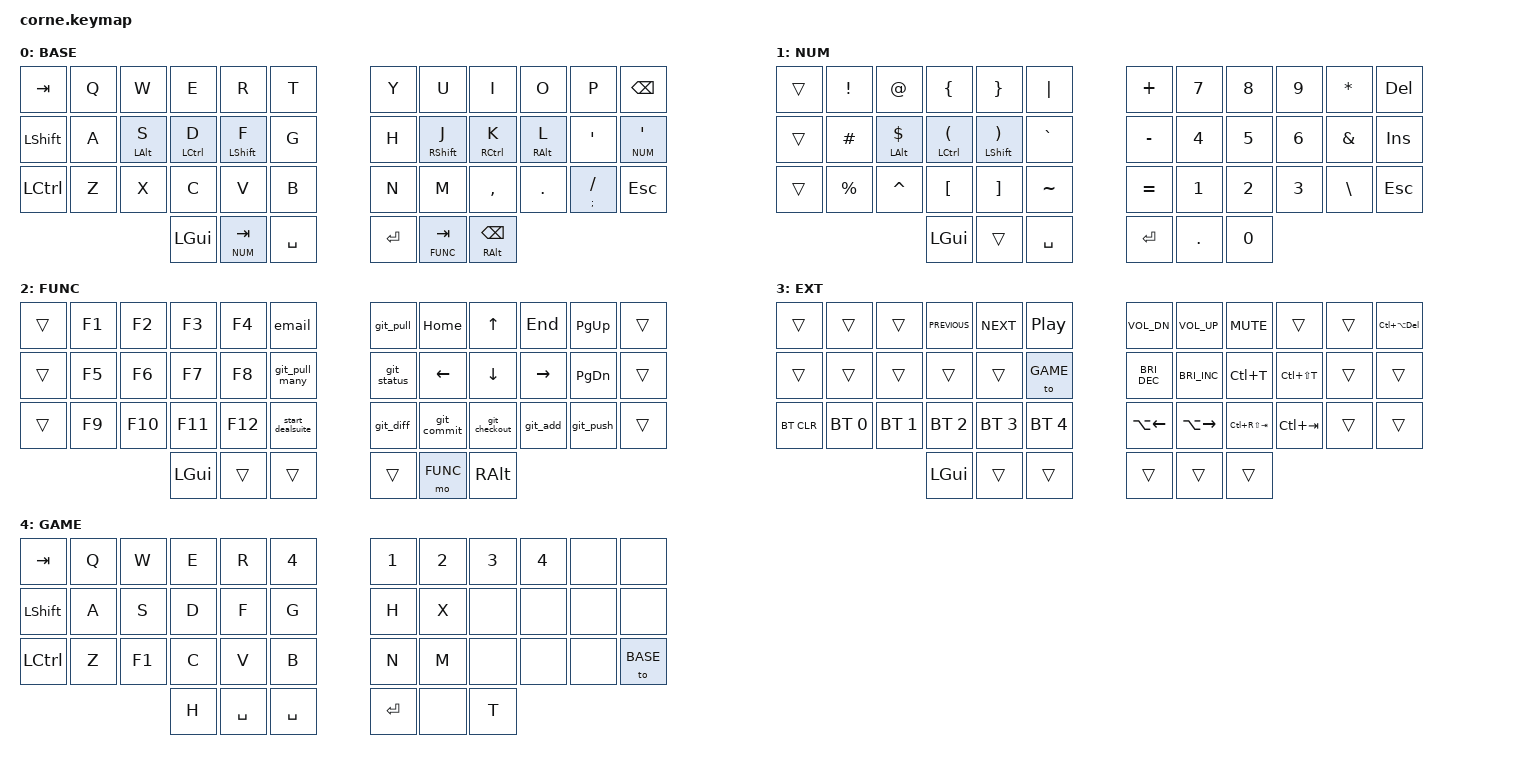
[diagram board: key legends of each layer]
/*
 * Copyright (c) 2020 The ZMK Contributors
 *
 * SPDX-License-Identifier: MIT
 */

#include <behaviors.dtsi>
#include <dt-bindings/zmk/bt.h>
#include <dt-bindings/zmk/keys.h>

#define BASE  0
#define NUM   1
#define FUNC  2
#define EXT   3
#define GAME  4

//#define MOUSE 5
//&mmv {
//    time-to-max-speed-ms = <500>;
//};
//
//&mwh {
//    acceleration-exponent=<1>;
//};

/ {
    behaviors {
        hm: homerow_mods {
            compatible = "zmk,behavior-hold-tap";
            label = "HOMEROW_MODS";
            bindings = <&kp>, <&kp>;

            #binding-cells = <2>;
            tapping-term-ms = <200>;
            flavor = "tap-preferred";
            require-prior-idle-ms = <125>;
            quick-tap-ms = <200>;
        };
    };

    combos {
        compatible = "zmk,combos";

        Clear_BLE_Profile {
            bindings = <&bt BT_CLR>;
            key-positions = <0 38 5>;
        };

        space {
            bindings = <&kp SPACE>;
            key-positions = <18 19>;
        };

        enter {
            bindings = <&kp ENTER>;
            key-positions = <17 16>;
        };

        return {
            bindings = <&kp RET>;
            key-positions = <21 22>;
        };

        caps {
            bindings = <&kp CAPS>;
            key-positions = <12 13>;
        };

        escape {
            bindings = <&kp ESC>;
            key-positions = <1 2>;
        };

        underline {
            bindings = <&kp UNDER>;
            key-positions = <8 7>;
        };

        dash {
            bindings = <&kp MINUS>;
            key-positions = <7 6>;
        };

        backslsh {
            bindings = <&kp BSLH>;
            key-positions = <33 34>;
        };

        reload {
            bindings = <&kp RC(R)>;
            key-positions = <4 5>;
        };

        undo {
            bindings = <&kp LC(Z)>;
            key-positions = <26 25>;
        };

        cut {
            bindings = <&kp LC(X)>;
            key-positions = <26 27>;
        };

        copy {
            bindings = <&kp LC(C)>;
            key-positions = <27 28>;
        };

        paste {
            bindings = <&kp LC(V)>;
            key-positions = <28 29>;
        };

        redo {
            bindings = <&kp LC(Y)>;
            key-positions = <24 25>;
        };

        select_all {
            bindings = <&kp LC(A)>;
            key-positions = <13 14>;
        };

        save {
            bindings = <&kp LC(S)>;
            key-positions = <14 15>;
        };

        all_caps {
            bindings = <&kp CAPS>;
            key-positions = <16 19>;
        };

        backspace {
            bindings = <&kp BACKSPACE>;
            key-positions = <9 10>;
        };
    };

    macros {
        email: email {
            compatible = "zmk,behavior-macro";
            #binding-cells = <0>;
            bindings = <&none &kp B &kp R &kp Y &kp A &kp N &kp AT &kp P &kp E &kp C &kp J &kp O &kp DOT &kp C &kp O &kp M>;
            label = "EMAIL";
        };

        git_status: git_status {
            compatible = "zmk,behavior-macro";
            #binding-cells = <0>;
            bindings = <&kp G &kp I &kp T &kp SPACE &kp S &kp T &kp A &kp T &kp U &kp S>;
            label = "GIT_STATUS";
        };

        git_pull: git_pull {
            compatible = "zmk,behavior-macro";
            #binding-cells = <0>;
            bindings = <&kp G &kp I &kp T &kp SPACE &kp P &kp U &kp L &kp L>;
            label = "GIT_PULL";
        };

        git_pull_many: git_pull_many {
            compatible = "zmk,behavior-macro";
            #binding-cells = <0>;
            bindings = <&kp LC(R) &kp G &kp I &kp T &kp SPACE &kp MINUS &kp LS(C) &kp SPACE &kp LBRC &kp RBRC &kp SPACE &kp P &kp U &kp L &kp L &kp SQT>;
            label = "GIT_PULL_MANY";
        };

        git_push: git_push {
            compatible = "zmk,behavior-macro";
            #binding-cells = <0>;
            bindings = <&kp G &kp I &kp T &kp SPACE &kp P &kp U &kp S &kp H>;
            label = "GIT_PUSH";
        };

        git_add: git_add {
            compatible = "zmk,behavior-macro";
            #binding-cells = <0>;
            bindings = <&kp G &kp I &kp T &kp SPACE &kp A &kp D &kp D &kp SPACE &kp DOT>;
            label = "GIT_ADD";
        };

        git_diff: git_diff {
            compatible = "zmk,behavior-macro";
            #binding-cells = <0>;
            bindings = <&kp G &kp I &kp T &kp SPACE &kp D &kp I &kp F &kp F>;
            label = "GIT_DIFF";
        };

        git_checkout: git_checkout {
            compatible = "zmk,behavior-macro";
            #binding-cells = <0>;
            bindings = <&kp G &kp I &kp T &kp SPACE &kp C &kp H &kp E &kp C &kp K &kp O &kp U &kp T &kp SPACE>;
            label = "GIT_CHECKOUT";
        };

        git_commit: git_commit {
            compatible = "zmk,behavior-macro";
            #binding-cells = <0>;
            bindings = <&kp G &kp I &kp T &kp SPACE &kp C &kp O &kp M &kp M &kp I &kp T &kp SPACE &kp MINUS &kp M &kp SPACE &kp DOUBLE_QUOTES &kp DOUBLE_QUOTES &kp LEFT>;
            label = "GIT_COMMIT";
        };

        start_dealsuite: start_dealsuite {
            compatible = "zmk,behavior-macro";
            #binding-cells = <0>;
            bindings = <
                &kp LC(R)          // Press CTRL + R
                &kp C &kp E &kp L &kp E  // Type 'cele'
                &macro_wait_time 1000
                &kp RET            // Press Enter
                &kp N1             // Type '1'
                &kp RET            // Press Enter

                // New Terminal tab
                &macro_wait_time 2000
                &kp LC(LS(N5))
                &kp LC(R)          // Press CTRL + R
                &macro_wait_time 50
                &kp R &kp U &kp N &kp SPACE &kp D  // Type 'run d'
                &kp RET            // Press Enter

                // New Terminal tab
                &macro_wait_time 2000
                &kp LC(LS(N5))
                &kp LC(R)          // Press CTRL + R
                &macro_wait_time 50
                &kp A &kp P &kp P &kp DOT &kp P  // Type 'app.p'
                &kp RET            // Press Enter

                // New Terminal tab
                &macro_wait_time 2000
                &kp LC(LS(N5))
                &kp LC(R)          // Press CTRL + R
                &macro_wait_time 50
                &kp R &kp U &kp N &kp S &kp E // Type 'runse'
                &kp RET            // Press Enter
            >;
            label = "START_DEALSUITE";
        };

    };

    keymap {
        compatible = "zmk,keymap";

        base_layer {
            label = "BASE";

            //╭──────────┬──────────┬──────────┬──────────┬──────────┬──────────╮   ╭──────────┬──────────┬──────────┬──────────┬──────────┬──────────╮
            //│  TAB     |     Q  [esc]  W     │     E    │    R [reload]  T    │   │   Y    [ - ]  U   [ _ ]  I     │   O      │    P     │ BSPC     │
            //├──────────┼──────────┼──────────┼──────────┼──────────┼──────────┤   ├──────────┼──────────┼──────────┼──────────┼──────────┼──────────┤
            //│  SHIFT [CAPS]  A  [all]  S   [save]  D    │    F   [ ↵ ]   G    │   │   H   [space]  J    │    K     │   L    [ ↵ ]  ; :   │ LWR/'    │
            //├──────────┼──────────┼──────────┼──────────┼──────────┼──────────┤   ├──────────┼──────────┼──────────┼──────────┼──────────┼──────────┤
            //│  CTRL  [redo]  Z [undo]  X   [cut]   C  [copy] V  [paste]  B    │   │   N      │    M     │   , <    │  . >   [ \ ]  / ?   │ ESC      │
            //╰──────────┴──────────┴──────────┼──────────┼──────────┼──────────┤   ├──────────┼──────────┼──────────┼──────────┴──────────┴──────────╯
            //                                 │  WIN     │  LWR     │  SPACE   │   │  ENTER   │  RSE     │  RALT    │
            //                                 ╰──────────┴──────────┴──────────╯   ╰──────────┴──────────┴──────────╯

            bindings = <
&kp TAB    &kp Q  &kp W           &kp E        &kp R             &kp T        &kp Y    &kp U              &kp I               &kp O            &kp P          &kp BSPC
&kp LSHFT  &kp A  &hm LEFT_ALT S  &hm LCTRL D  &hm LEFT_SHIFT F  &kp G        &kp H    &hm RIGHT_SHIFT J  &hm RCTRL K         &hm RIGHT_ALT L  &kp SQT        &lt NUM SQT
&kp LCTRL  &kp Z  &kp X           &kp C        &kp V             &kp B        &kp N    &kp M              &kp COMMA           &kp DOT          &hm SEMI FSLH  &kp ESC
                                  &kp LGUI     &lt NUM TAB       &kp SPACE    &kp RET  &lt FUNC TAB       &hm RALT BACKSPACE
            >;
        };

        num_layer {
            label = "NUM";

            //╭──────────┬──────────┬──────────┬──────────┬──────────┬──────────╮   ╭──────────┬──────────┬──────────┬──────────┬──────────┬──────────╮
            //|  TAB     |  !       |  @       |  {       |  }       | "|"      |   |  +       |  7       |  8       |  9       |  *       |  Del     |
            //├──────────┼──────────┼──────────┼──────────┼──────────┼──────────┤   ├──────────┼──────────┼──────────┼──────────┼──────────┼──────────┤
            //|  SHIFT   |  #       |  $       |  (       |  )       |  `       |   |  -       |  4       |  5       |  6       |  &       |  Ins     |
            //├──────────┼──────────┼──────────┼──────────┼──────────┼──────────┤   ├──────────┼──────────┼──────────┼──────────┼──────────┼──────────┤
            //|          |  %       |  ^       |  [       |  ]       |  ~       |   |  =       |  1       |  2       |  3       |  \       |  ESC     |
            //╰──────────┴──────────┴──────────┼──────────┼──────────┼──────────┤   ├──────────┼──────────┼──────────┼──────────┴──────────┴──────────╯
            //                                 |  WIN     |          |  SPACE   │   │  ENTER   │  .       |  0       |
            //                                 ╰──────────┴──────────┴──────────╯   ╰──────────┴──────────┴──────────╯

            bindings = <
&trans  &kp EXCL     &kp AT               &kp LBRC        &kp RBRC             &kp PIPE     &kp PLUS   &kp N7   &kp N8  &kp N9  &kp STAR  &kp DEL
&trans  &kp HASH     &hm LEFT_ALT DOLLAR  &hm LCTRL LPAR  &hm LEFT_SHIFT RPAR  &kp GRAVE    &kp MINUS  &kp N4   &kp N5  &kp N6  &kp AMPS  &kp INS
&trans  &kp PERCENT  &kp CARET            &kp LBKT        &kp RBKT             &kp TILDE    &kp EQUAL  &kp N1   &kp N2  &kp N3  &kp BSLH  &kp ESC
                                          &kp LGUI        &trans               &kp SPACE    &kp RET    &kp DOT  &kp N0
            >;
        };

        func_layer {
            label = "FUNC";

            //╭──────────┬──────────┬──────────┬──────────┬──────────┬──────────╮   ╭──────────┬──────────┬──────────┬──────────┬──────────┬──────────╮
            //|          |  F1      |  F2      |  F3      |  F4      | email    |   | g.pull   |  HOME    |  ▲       |  END     |  PG_UP   |          |
            //├──────────┼──────────┼──────────┼──────────┼──────────┼──────────┤   ├──────────┼──────────┼──────────┼──────────┼──────────┼──────────┤
            //|          |  F5      |  F6      |  F7      |  F8      | g.pull_m |   | g.status |   ◄      |  ▼       |  ►       |  PG_DN   |          |
            //├──────────┼──────────┼──────────┼──────────┼──────────┼──────────┤   ├──────────┼──────────┼──────────┼──────────┼──────────┼──────────┤
            //|          |  F9      |  F10     |  F11     |  F12     | dealsuit |   | g.diff   | g.commit | g.chkout |  g.add   |  g.push  |          |
            //╰──────────┴──────────┴──────────┼──────────┼──────────┼──────────┤   ├──────────┼──────────┼──────────┼──────────┴──────────┴──────────╯
            //                                 |  WIN     |          |          |   |          |  RSE     |  RALT    |
            //                                 ╰──────────┴──────────┴──────────╯   ╰──────────┴──────────┴──────────╯

            bindings = <
&trans  &kp F1  &kp F2   &kp F3    &kp F4   &email            &git_pull    &kp HOME     &kp UP         &kp END    &kp PG_UP      &trans
&trans  &kp F5  &kp F6   &kp F7    &kp F8   &git_pull_many    &git_status  &kp LEFT     &kp DOWN       &kp RIGHT  &kp PAGE_DOWN  &trans
&trans  &kp F9  &kp F10  &kp F11   &kp F12  &start_dealsuite  &git_diff    &git_commit  &git_checkout  &git_add   &git_push      &trans
                         &kp LGUI  &trans   &trans            &trans       &mo FUNC     &kp RALT
            >;
        };

        extended_layer {
            label = "EXT";

            //╭──────────┬──────────┬──────────┬──────────┬──────────┬──────────╮   ╭──────────┬──────────┬──────────┬──────────┬──────────┬──────────╮
            //|          |          |          |  Prv     |  Nxt     |  ►||     |   |  Vol-    |  Vol+    |  Mute    |          |          |  ^ALT ⌦ |
            //├──────────┼──────────┼──────────┼──────────┼──────────┼──────────┤   ├──────────┼──────────┼──────────┼──────────┼──────────┼──────────┤
            //|          |          |          |          |          |          |   |  Bri-    |  Bri+    |  ^ T     |  ^⇧ T    |          |          |
            //├──────────┼──────────┼──────────┼──────────┼──────────┼──────────┤   ├──────────┼──────────┼──────────┼──────────┼──────────┼──────────┤
            //| BT CLR   |  BT1     |  BT2     |  BT3     |  BT4     |  BT5     |   |  alt-L   |  alt-R   |  ^ Tab   |  ^⇧ Tab  |          |          |
            //╰──────────┴──────────┴──────────┼──────────┼──────────┼──────────┤   ├──────────┼──────────┼──────────┼──────────┴──────────┴──────────╯
            //                                 |  WIN     |          |          |   |          |          |          |
            //                                 ╰──────────┴──────────┴──────────╯   ╰──────────┴──────────┴──────────╯

            bindings = <
&trans      &trans        &trans        &kp C_PREVIOUS  &kp C_NEXT    &kp C_PLAY_PAUSE    &kp C_VOL_DN          &kp C_VOL_UP          &kp C_MUTE       &trans         &trans  &kp LC(LA(DEL))
&trans      &trans        &trans        &trans          &trans        &to GAME            &kp C_BRIGHTNESS_DEC  &kp C_BRIGHTNESS_INC  &kp LC(T)        &kp LC(LS(T))  &trans  &trans
&bt BT_CLR  &bt BT_SEL 0  &bt BT_SEL 1  &bt BT_SEL 2    &bt BT_SEL 3  &bt BT_SEL 4        &kp LA(LEFT)          &kp LA(RIGHT)         &kp LC(RS(TAB))  &kp LC(TAB)    &trans  &trans
                                        &kp LGUI        &trans        &trans              &trans                &trans                &trans
            >;
        };

        game_layer {
            label = "GAME";

            //╭──────────┬──────────┬──────────┬──────────┬──────────┬──────────╮   ╭──────────┬──────────┬──────────┬──────────┬──────────┬──────────╮
            //|  Inv     |  Tact.A  |  ▲       |  Hands   |  Reload  | Health   |   |  Gun 1   |  Gun 2   |  3       |  4       |          |          |
            //├──────────┼──────────┼──────────┼──────────┼──────────┼──────────┤   ├──────────┼──────────┼──────────┼──────────┼──────────┼──────────┤
            //|  Sprint  |  ◄       |  ▼       |  ►       |  Ping    | Grenade  |   |  H       |  X       |          |          |          |          |
            //├──────────┼──────────┼──────────┼──────────┼──────────┼──────────┤   ├──────────┼──────────┼──────────┼──────────┼──────────┼──────────┤
            //|  Crouch  |  Ulti.A  |  F1      |  Crouch  |  Melee   | FireMode |   | Look Gun |  Map     |          |          |          |  BASE L  |
            //╰──────────┴──────────┴──────────┼──────────┼──────────┼──────────┤   ├──────────┼──────────┼──────────┼──────────┴──────────┴──────────╯
            //                                 |  Health  |  Jump    | Jump     │   │  ENTER   │          |  T       |
            //                                 ╰──────────┴──────────┴──────────╯   ╰──────────┴──────────┴──────────╯

            bindings = <
&kp TAB    &kp Q  &kp W   &kp E  &kp R      &kp N4       &kp N1   &kp N2  &kp N3  &kp N4  &none  &none
&kp LSHFT  &kp A  &kp S   &kp D  &kp F      &kp G        &kp H    &kp X   &none   &none   &none  &none
&kp LCTRL  &kp Z  &kp F1  &kp C  &kp V      &kp B        &kp N    &kp M   &none   &none   &none  &to BASE
                          &kp H  &kp SPACE  &kp SPACE    &kp RET  &none   &kp T
            >;
        };

        //        mouse_layer {
        //            label = "MOUSE";
        //        //╭──────────┬──────────┬──────────┬──────────┬──────────┬──────────╮   ╭──────────┬──────────┬──────────┬──────────┬──────────┬──────────╮
        //        //|          |          | L.Click  |  ▲       | R.Click  |  S ▲     |   |          |          |          |          |          |          |
        //        //├──────────┼──────────┼──────────┼──────────┼──────────┼──────────┤   ├──────────┼──────────┼──────────┼──────────┼──────────┼──────────┤
        //        //|          |          |  ◄       |  ▼       |  ►       |  S ▼     |   |          |          |          |  S ▲     |          |          |
        //        //├──────────┼──────────┼──────────┼──────────┼──────────┼──────────┤   ├──────────┼──────────┼──────────┼──────────┼──────────┼──────────┤
        //        //|          |          |  S ◄     |          |  S ►     |          |   |  M.4     |  M.5     |  S ◄     |  S ▼     |  S ►     |          |
        //        //╰──────────┴──────────┴──────────┼──────────┼──────────┼──────────┤   ├──────────┼──────────┼──────────┼──────────┴──────────┴──────────╯
        //        //                                 | L.Click  | R.Click  | M.Click  │   │ L.Click  | R.Click  | M.Click  |
        //        //                                 ╰──────────┴──────────┴──────────╯   ╰──────────┴──────────┴──────────╯
        //            bindings = <
        //&none  &none  &mkp LCLK        &mmv MOVE_UP    &mkp RCLK         &mwh SCROLL_UP    &none      &none     &none            &none             &none             &none
        //&none  &none  &mmv MOVE_LEFT   &mmv MOVE_DOWN  &mmv MOVE_RIGHT   &mwh SCROLL_DOWN  &none      &none     &none            &mwh SCROLL_UP    &none             &none
        //&none  &none  &mwh SCROLL_LEFT &none           &mwh SCROLL_RIGHT &none             &mkp MB4   &mkp MB5  &mwh SCROLL_LEFT &mwh SCROLL_DOWN  &mwh SCROLL_RIGHT &none
        //                               &mkp LCLK       &mkp RCLK         &mkp MCLK         &mkp LCLK  &mkp RCLK &mkp MCLK
        //            >;
        //        };
    };

    conditional_layers {
        compatible = "zmk,conditional-layers";

        Activate_EXT {
            if-layers = <NUM FUNC>;
            then-layer = <EXT>;
        };
    };
};
